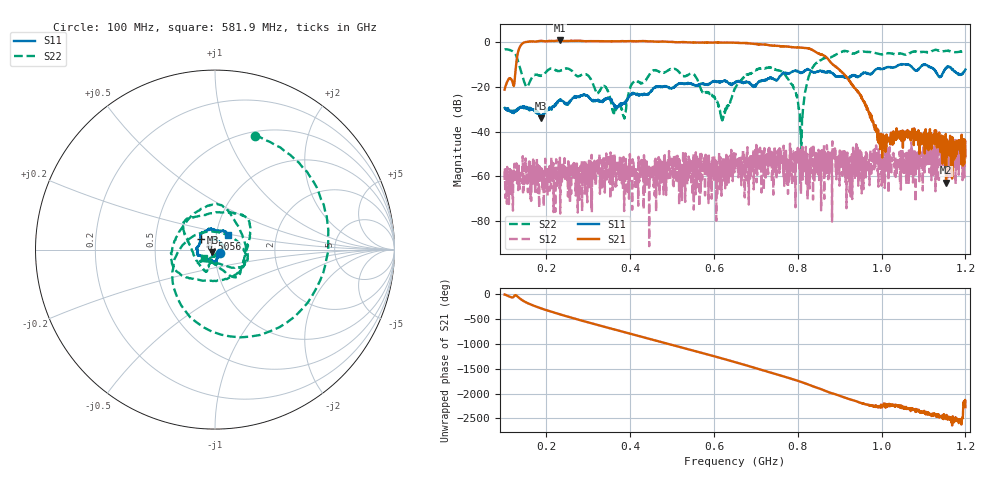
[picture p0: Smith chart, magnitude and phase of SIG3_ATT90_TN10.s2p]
# Hz S DB R 50
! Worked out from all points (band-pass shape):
!   1601 points, 100 MHz to 1.2 GHz, reference 50 ohm
!   highest |S21| = 0.53 dB at 232 MHz (marker M1); lowest = -62.8 dB at 1.154 GHz (marker M2)
!   |S21| within 3 dB of the highest: 136 MHz to 786.1 MHz (650.1 MHz wide, 141 % of centre); 786.2293 MHz to 787.3434 MHz (1.114 MHz wide, 0.142 % of centre)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
!   lowest |S11| = -34.1 dB at 185.9 MHz (marker M3), VSWR 1.04, Z = 48.6 - j1.33 ohm
!   |S11| at or under -10 dB: start of sweep to 1.048 GHz; 1.048 GHz to end of sweep
!   |S22| runs from -53.5 to -3.4 dB; largest |S21 - S12| = 1.1
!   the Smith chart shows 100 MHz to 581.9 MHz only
!   S11 on the Smith chart (normalised r, x): 100 MHz: 1.06, -0.04; 505.6 MHz: 0.85, +0.11; 581.9 MHz: 1.14, +0.19
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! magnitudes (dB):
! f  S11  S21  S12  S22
! 100 MHz  -29.5  -21.4  -61.6  -3.5
! 121.3 MHz  -30.7  -19.5  -56.6  -4.5
! 139.9 MHz  -29.5  -1.3  -59.3  -13.5
! 185.9 MHz  -34.1  0.3  -56.3  -15.3
! 232 MHz  -26.2  0.5  -51.7  -13.1
! 283.6 MHz  -23.9  0.3  -62.8  -14.8
! 384.6 MHz  -27.2  0.2  -60.2  -33.6
! 405.9 MHz  -23.4  0.2  -60.3  -18.3
! 467.1 MHz  -20.2  0.0  -53.5  -13.2
! 505.6 MHz  -19.9  -0.2  -56.3  -12.1
! 581.9 MHz  -19.0  -0.4  -54.4  -22.6
! 620.4 MHz  -17.7  -0.4  -58.6  -34.9
! 650 MHz  -18.1  -0.5  -51.9  -20.9
! 759.3 MHz  -15.0  -2.0  -49.0  -13.1
! 792.3 MHz  -13.0  -2.5  -54.0  -21.1
! 807.4 MHz  -13.8  -2.7  -67.9  -40.8
! 833.6 MHz  -13.3  -3.6  -50.8  -12.1
! 914 MHz  -15.9  -15.4  -61.5  -4.2
! 995.8 MHz  -12.2  -43.6  -56.6  -5.6
! 1.017 GHz  -11.3  -42.8  -48.6  -5.1
! 1.154 GHz  -11.7  -62.8  -60.7  -4.1
! 1.2 GHz  -12.5  -50.9  -52.1  -4.0
